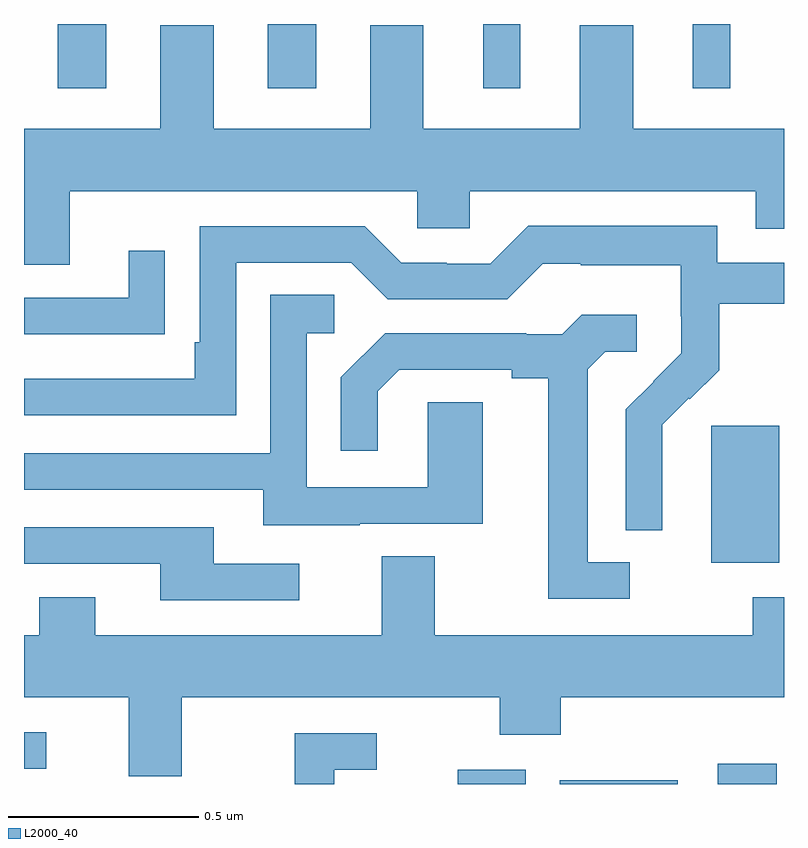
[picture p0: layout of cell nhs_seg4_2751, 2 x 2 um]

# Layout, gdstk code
import gdstk
lib = gdstk.Library(unit=1e-6, precision=1e-09)
def R(c, l, rs):  # rectangles x0, y0, x1, y1
    for r in rs: c.add(gdstk.rectangle(r[:2], r[2:], *l))
def P(c, l, *ps):  # polygons
    for p in ps: c.add(gdstk.Polygon(p, *l))
L2000_40 = (2000, 40)

nhs_seg4_2751 = lib.new_cell('nhs_seg4_2751')
R(nhs_seg4_2751, L2000_40, [(145.142,821.9,145.321,821.938), (145.41,821.9,145.72,821.91), (145.826,821.9,145.981,821.953), (144,821.94,144.058,822.036), (145.808,822.482,145.987,822.843), (144.089,823.731,144.217,823.9), (144.641,823.731,144.769,823.9), (145.208,823.731,145.306,823.9), (145.76,823.731,145.858,823.9)])
P(nhs_seg4_2751, L2000_40, [(144.121,823.46),(145.035,823.46),(145.035,823.362),(145.173,823.362),(145.173,823.46),(145.925,823.46),(145.925,823.361),(146,823.361),(146,823.624),(145.603,823.624),(145.603,823.897),(145.463,823.897),(145.463,823.624),(145.051,823.624),(145.051,823.897),(144.911,823.897),(144.911,823.624),(144.499,823.624),(144.499,823.897),(144.359,823.897),(144.359,823.624),(144,823.624),(144,823.266),(144.121,823.266)],
  [(145.68,822.722),(145.679,822.722),(145.679,822.845),(145.749,822.915),(145.752,822.912),(145.829,822.989),(145.829,823.164),(146,823.164),(146,823.272),(145.824,823.272),(145.824,823.369),(145.327,823.369),(145.227,823.269),(145.112,823.269),(145.112,823.272),(144.993,823.272),(144.897,823.368),(144.462,823.368),(144.462,823.063),(144.449,823.063),(144.449,822.966),(144,822.966),(144,822.87),(144.558,822.87),(144.558,823.272),(144.861,823.272),(144.957,823.176),(145.272,823.176),(145.365,823.269),(145.465,823.269),(145.465,823.265),(145.728,823.265),(145.728,823.131),(145.73,823.131),(145.73,823.034),(145.656,822.96),(145.657,822.959),(145.584,822.886),(145.584,822.568),(145.68,822.568)],
  [(144.269,823.084),(144.371,823.084),(144.371,823.303),(144.275,823.303),(144.275,823.179),(144,823.179),(144,823.083),(144.269,823.083)],
  [(144.883,822.585),(145.207,822.585),(145.207,822.905),(145.062,822.905),(145.062,822.681),(144.744,822.681),(144.744,823.086),(144.817,823.086),(144.817,823.187),(144.648,823.187),(144.648,822.771),(144,822.771),(144,822.675),(144.629,822.675),(144.629,822.581),(144.883,822.581)],
  [(145.594,822.483),(145.483,822.483),(145.483,822.991),(145.53,823.038),(145.612,823.038),(145.612,823.135),(145.468,823.135),(145.416,823.083),(145.322,823.083),(145.322,823.086),(144.95,823.086),(144.834,822.97),(144.834,822.777),(144.931,822.777),(144.931,822.933),(144.988,822.99),(145.283,822.99),(145.283,822.968),(145.379,822.968),(145.379,822.387),(145.594,822.387)],
  [(144.724,822.48),(144.499,822.48),(144.499,822.576),(144,822.576),(144,822.48),(144.359,822.48),(144.359,822.384),(144.724,822.384)],
  [(144.415,822.128),(145.252,822.128),(145.252,822.029),(145.412,822.029),(145.412,822.128),(146,822.128),(146,822.391),(145.918,822.391),(145.918,822.292),(145.081,822.292),(145.081,822.5),(144.941,822.5),(144.941,822.292),(144.187,822.292),(144.187,822.391),(144.04,822.391),(144.04,822.292),(144,822.292),(144,822.128),(144.275,822.128),(144.275,821.92),(144.415,821.92)],
  [(144.817,821.937),(144.928,821.937),(144.928,822.033),(144.713,822.033),(144.713,821.9),(144.817,821.9)])

lib.write_gds('nhs_seg4_2751.gds')
